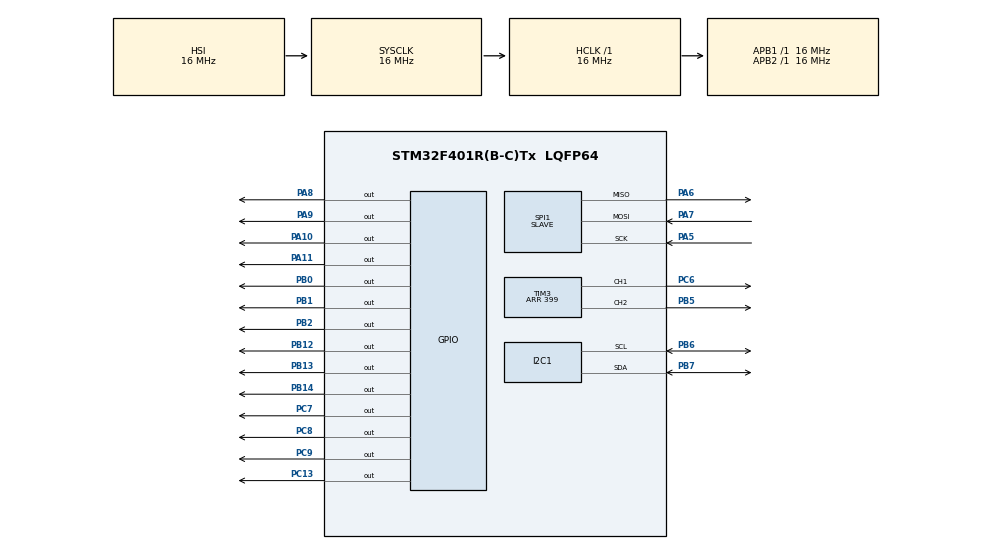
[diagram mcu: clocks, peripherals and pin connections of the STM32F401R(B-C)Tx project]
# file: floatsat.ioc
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Mcu.Family=STM32F4
Mcu.Name=STM32F401R(B-C)Tx
Mcu.Package=LQFP64
NVIC.I2C1_EV_IRQn=true\:1\:0\:true\:false\:true\:true\:true\:true
NVIC.PriorityGroup=NVIC_PRIORITYGROUP_4
NVIC.SPI1_IRQn=true\:0\:0\:true\:false\:true\:true\:true\:true
NVIC.TIM1_UP_TIM10_IRQn=true\:1\:0\:true\:false\:true\:true\:true\:true
NVIC.TIM2_IRQn=true\:1\:0\:true\:false\:true\:true\:true\:true
NVIC.TIM4_IRQn=true\:1\:0\:true\:false\:true\:true\:true\:true
NVIC.TIM5_IRQn=true\:1\:0\:true\:false\:true\:true\:true\:true
PA10.Signal=GPIO_Output
PA11.Signal=GPIO_Output
PA5.Mode=Full_Duplex_Slave
PA5.Signal=SPI1_SCK
PA6.Mode=Full_Duplex_Slave
PA6.Signal=SPI1_MISO
PA7.Mode=Full_Duplex_Slave
PA7.Signal=SPI1_MOSI
PA8.Signal=GPIO_Output
PA9.Signal=GPIO_Output
PB0.Signal=GPIO_Output
PB1.Signal=GPIO_Output
PB12.Signal=GPIO_Output
PB13.Signal=GPIO_Output
PB14.Signal=GPIO_Output
PB2.Signal=GPIO_Output
PB5.Signal=S_TIM3_CH2
PB6.Mode=I2C
PB6.Signal=I2C1_SCL
PB7.Mode=I2C
PB7.Signal=I2C1_SDA
PC13-ANTI_TAMP.Signal=GPIO_Output
PC6.Signal=S_TIM3_CH1
PC7.Signal=GPIO_Output
PC8.Signal=GPIO_Output
PC9.Signal=GPIO_Output
ProjectManager.HeapSize=0x200
ProjectManager.StackSize=0x400
ProjectManager.TargetToolchain=STM32CubeIDE
RCC.AHBFreq_Value=16000000
RCC.APB1Freq_Value=16000000
RCC.APB1TimFreq_Value=16000000
RCC.APB2Freq_Value=16000000
RCC.APB2TimFreq_Value=16000000
RCC.CortexFreq_Value=16000000
RCC.HCLKFreq_Value=16000000
RCC.HSE_VALUE=25000000
RCC.HSI_VALUE=16000000
RCC.LSE_VALUE=32768
RCC.SYSCLKFreq_VALUE=16000000
RCC.VCOOutputFreq_Value=192000000
SH.S_TIM3_CH1.0=TIM3_CH1,PWM Generation1 CH1
SH.S_TIM3_CH2.0=TIM3_CH2,PWM Generation2 CH2
SPI1.CLKPhase=SPI_PHASE_2EDGE
SPI1.CLKPolarity=SPI_POLARITY_LOW
SPI1.Direction=SPI_DIRECTION_2LINES
SPI1.Mode=SPI_MODE_SLAVE
SPI1.VirtualType=VM_SLAVE
TIM1.CounterMode=TIM_COUNTERMODE_DOWN
TIM1.Period=2000
TIM1.Prescaler=15
TIM2.CounterMode=TIM_COUNTERMODE_DOWN
TIM2.Prescaler=15
TIM3.Channel-PWM\ Generation1\ CH1=TIM_CHANNEL_1
TIM3.Channel-PWM\ Generation2\ CH2=TIM_CHANNEL_2
TIM3.CounterMode=TIM_COUNTERMODE_DOWN
TIM3.Period=399
TIM4.CounterMode=TIM_COUNTERMODE_DOWN
TIM5.CounterMode=TIM_COUNTERMODE_DOWN
TIM5.Prescaler=15
VP_TIM1_VS_ClockSourceINT.Mode=Internal
VP_TIM2_VS_ClockSourceINT.Mode=Internal
VP_TIM4_VS_ClockSourceINT.Mode=Internal
VP_TIM5_VS_ClockSourceINT.Mode=Internal
VP_TIM9_VS_ClockSourceINT.Mode=Internal
board=custom

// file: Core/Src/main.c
/* USER CODE BEGIN Header */
/**
 ******************************************************************************
 * @file           : main.c
 * @brief          : Main program body
 ******************************************************************************
 * @attention
 *
 * Copyright (c) 2025 STMicroelectronics.
 * All rights reserved.
 *
 * This software is licensed under terms that can be found in the LICENSE file
 * in the root directory of this software component.
 * If no LICENSE file comes with this software, it is provided AS-IS.
 *
 ******************************************************************************
 */
/* USER CODE END Header */
#include "main.h"

/* USER CODE BEGIN Includes */
#include <math.h>
#include "motor.h"
#include "imu.h"
#include "communication.h"
#include "attitude_control.h"
#include "attitude_estimator.h"

/* USER CODE END Includes */

I2C_HandleTypeDef hi2c1;

SPI_HandleTypeDef hspi1;

TIM_HandleTypeDef htim1;
TIM_HandleTypeDef htim2;
TIM_HandleTypeDef htim3;
TIM_HandleTypeDef htim4;
TIM_HandleTypeDef htim5;
TIM_HandleTypeDef htim9;

/* USER CODE BEGIN PV */
const float step = 0.005;      // how much to increase per loop

Motor_t motor1 = { &htim2, TIM2, &htim3, TIM3,
GPIOB, GPIO_PIN_12,
GPIOB, GPIO_PIN_13,
GPIOB, GPIO_PIN_14, 0, 0, step };

Motor_t motor2 = { &htim5, TIM5, &htim3, TIM3,
		GPIOA, GPIO_PIN_9,
		GPIOA, GPIO_PIN_10,
		GPIOA, GPIO_PIN_11,
		0, 0, step };

Motor_t motor3 = { &htim4, TIM4, &htim3, TIM3,
		GPIOB, GPIO_PIN_0,
		GPIOB, GPIO_PIN_1,
		GPIOB, GPIO_PIN_2,
		0, 0, step };

uint8_t acc_buff[IMU_BUFF_LEN];
uint8_t gyro_buff[IMU_BUFF_LEN];
uint8_t mag_buff[IMU_BUFF_LEN];

IMU_t imu = { .hi2c = &hi2c1, .acc_buff = acc_buff, .gyro_buff=gyro_buff, .mag_buff=mag_buff };

uint8_t spi_rx_buf[SPI_FRAME_LEN];
uint8_t spi_tx_buf[SPI_FRAME_LEN];
COM_t com = { .hspi = &hspi1, .spi_rx_buf = spi_rx_buf, .spi_tx_buf = spi_tx_buf };

measurement_t meas = {0};
control_params_t params = {0};
float omega_body_z_cmd = 0.0f;
quat_t q_setpoint = {
	.w = 1.0f,
	.x = 0.0f,
	.y = 0.0f,
	.z = 0.0f
};
vec3_t motor_speed = {0};

float rps1 = 1;         // start speed
float target_rps1 = 20;   // end speed
float rps2 = 1;         // start speed
float target_rps2 = 20;   // end speed
float rps3 = 1;         // start speed
float target_rps3 = 20;   // end speed

/* USER CODE END PV */

void SystemClock_Config(void);
static void MX_GPIO_Init(void);
static void MX_TIM3_Init(void);
static void MX_SPI1_Init(void);
static void MX_I2C1_Init(void);
static void MX_TIM2_Init(void);
static void MX_TIM1_Init(void);
static void MX_TIM5_Init(void);
static void MX_TIM9_Init(void);
static void MX_TIM4_Init(void);

/* USER CODE BEGIN 0 */
void HAL_TIM_PeriodElapsedCallback(TIM_HandleTypeDef *htim) {
	if (htim == &htim1) {
		Motor_ControlTick(&motor1);
		Motor_ControlTick(&motor2);
		Motor_ControlTick(&motor3);
	} else if (htim == &htim2) {
		motor_irq(&motor1);
	} else if (htim == &htim5) {
		motor_irq(&motor2);
	} else if (htim == &htim4) {
		motor_irq(&motor3);
	}
}

void HAL_SPI_TxRxCpltCallback(SPI_HandleTypeDef *hspi) {
	if (hspi->Instance == SPI1){
		comunicate(&com, &imu, &meas, &params, &omega_body_z_cmd, &motor_speed, &q_setpoint);
	}
}

void HAL_I2C_MemRxCpltCallback(I2C_HandleTypeDef *hi2c) {
	HAL_GPIO_TogglePin(GPIOC, GPIO_PIN_13);
	read_imu(&imu);
}

static float deg2rad(float deg)
{
    return deg * (float)M_PI / 180.0f;
}

/* USER CODE END 0 */

int main(void)
{
  /* USER CODE BEGIN 1 */
	setTarget(&motor1, 1);
	setTarget(&motor2, 1);
	setTarget(&motor3, 1);

	setStep(&motor1, step);
	setStep(&motor2, step);
	setStep(&motor3, step);

  /* USER CODE END 1 */

  /* MCU Configuration--------------------------------------------------------*/

  /* Reset of all peripherals, Initializes the Flash interface and the Systick. */
  HAL_Init();

  /* Configure the system clock */
  SystemClock_Config();

  /* USER CODE BEGIN SysInit */
  HAL_Delay(1000);
  /* USER CODE END SysInit */

  /* Initialize all configured peripherals */
  MX_GPIO_Init();
  MX_TIM3_Init();
  MX_SPI1_Init();
  MX_I2C1_Init();
  MX_TIM2_Init();
  MX_TIM1_Init();
  MX_TIM5_Init();
  MX_TIM9_Init();
  MX_TIM4_Init();
  /* USER CODE BEGIN 2 */

  	HAL_GPIO_WritePin(GPIOC, GPIO_PIN_13, GPIO_PIN_SET);
  	init_imu(&imu);
  	while (calib_imu(&imu) != HAL_OK); // TODO test bias compensation
  	HAL_GPIO_WritePin(GPIOC, GPIO_PIN_13, GPIO_PIN_RESET);

	Commutation_Start(&motor1, rps1 * 7.0f * 6.0f);
	Commutation_Start(&motor2, rps2 * 7.0f * 6.0f);
	Commutation_Start(&motor3, rps3 * 7.0f * 6.0f);

	uint8_t duty = 98;
	SetDuty_TIM3_CH2(&motor1, duty);

	HAL_TIM_Base_Start_IT(&htim1);

	for (int i = 0; i < SPI_FRAME_LEN; i++) {
		spi_rx_buf[i] = 0;
	}
	for (int i = 0; i < SPI_FRAME_LEN; i++) {
		spi_tx_buf[i] = i;
	}
	HAL_SPI_TransmitReceive_IT(&hspi1, spi_tx_buf, spi_rx_buf, SPI_FRAME_LEN);

	 /* =========================
	 * Control parameters
	 * ========================= */

	/* Timing */
	params.dt = 0.002f;  /* 500 Hz */

	/* Outer (angle) PID */
	params.angle_kp[0] = 0.0f;
	params.angle_kp[1] = 0.0f;
	params.angle_kp[2] = 0.0f;

	params.angle_ki[0] = 0.0f;
	params.angle_ki[1] = 0.0f;
	params.angle_ki[2] = 0.0f;

	params.max_angvel_cmd[0] = deg2rad(10.0f);
	params.max_angvel_cmd[1] = deg2rad(10.0f);
	params.max_angvel_cmd[2] = deg2rad(10.0f);

	/* Inner (rate) PID */
	params.rate_kp[0] = 0.0f;
	params.rate_kp[1] = 0.0f;
	params.rate_kp[2] = 0.0f;

	params.rate_ki[0] = 0.0f;
	params.rate_ki[1] = 0.0f;
	params.rate_ki[2] = 1.0f;

	params.rate_kd[0] = 0.0f;
	params.rate_kd[1] = 0.0f;
	params.rate_kd[2] = 0.0f;

	/* Actuator limits */
	params.max_motor_rpm    = 1200.0f;
	params.max_motor_torque = 10.0f;

	/* =========================
	 * Wheel axis matrix (identity)
	 * ========================= */
	/*
	 * Wheel 0 → X
	 * Wheel 1 → Y
	 * Wheel 2 → Z
	 */
	params.wheel_axis[0][0] = 0.8165f;
	params.wheel_axis[0][1] = -0.4083f;
	params.wheel_axis[0][2] = 0.4083f;

	params.wheel_axis[1][0] = 0.0f;
	params.wheel_axis[1][1] = 0.7071f;
	params.wheel_axis[1][2] = -0.07071f;

	params.wheel_axis[2][0] = 0.5773f;
	params.wheel_axis[2][1] = 0.5773f;
	params.wheel_axis[2][2] = 0.5773f;

	params.torque_to_rpm = params.max_motor_rpm / params.max_motor_torque;

	meas_state_t meas_state;
	measurement_init(&meas_state, imu.acc, imu.mag);

  /* USER CODE END 2 */

  /* Infinite loop */
  /* USER CODE BEGIN WHILE */
	while (1) {
		if (read_imu(&imu) != HAL_OK){
			MX_I2C1_Init();
		} else {
			parse_imu(&imu);
		}
		HAL_Delay(2); // update dt as well.

		meas = measurement_update(&meas_state, &imu, params.dt);

		control_step(&imu, &meas, &params, &omega_body_z_cmd, &motor_speed, &q_setpoint);

		setTarget(&motor1, motor_speed.v[0]);
		setTarget(&motor2, motor_speed.v[1]);
		setTarget(&motor3, motor_speed.v[2]);

	}
    /* USER CODE END WHILE */

}

void SystemClock_Config(void)
{
  RCC_OscInitTypeDef RCC_OscInitStruct = {0};
  RCC_ClkInitTypeDef RCC_ClkInitStruct = {0};

  /** Configure the main internal regulator output voltage
  */
  __HAL_RCC_PWR_CLK_ENABLE();
  __HAL_PWR_VOLTAGESCALING_CONFIG(PWR_REGULATOR_VOLTAGE_SCALE2);

  /** Initializes the RCC Oscillators according to the specified parameters
  * in the RCC_OscInitTypeDef structure.
  */
  RCC_OscInitStruct.OscillatorType = RCC_OSCILLATORTYPE_HSI;
  RCC_OscInitStruct.HSIState = RCC_HSI_ON;
  RCC_OscInitStruct.HSICalibrationValue = RCC_HSICALIBRATION_DEFAULT;
  RCC_OscInitStruct.PLL.PLLState = RCC_PLL_NONE;
  if (HAL_RCC_OscConfig(&RCC_OscInitStruct) != HAL_OK)
  {
    Error_Handler();
  }

  /** Initializes the CPU, AHB and APB buses clocks
  */
  RCC_ClkInitStruct.ClockType = RCC_CLOCKTYPE_HCLK|RCC_CLOCKTYPE_SYSCLK
                              |RCC_CLOCKTYPE_PCLK1|RCC_CLOCKTYPE_PCLK2;
  RCC_ClkInitStruct.SYSCLKSource = RCC_SYSCLKSOURCE_HSI;
  RCC_ClkInitStruct.AHBCLKDivider = RCC_SYSCLK_DIV1;
  RCC_ClkInitStruct.APB1CLKDivider = RCC_HCLK_DIV1;
  RCC_ClkInitStruct.APB2CLKDivider = RCC_HCLK_DIV1;

  if (HAL_RCC_ClockConfig(&RCC_ClkInitStruct, FLASH_LATENCY_0) != HAL_OK)
  {
    Error_Handler();
  }
}

static void MX_I2C1_Init(void)
{

  hi2c1.Instance = I2C1;
  hi2c1.Init.ClockSpeed = 100000;
  hi2c1.Init.DutyCycle = I2C_DUTYCYCLE_2;
  hi2c1.Init.OwnAddress1 = 0;
  hi2c1.Init.AddressingMode = I2C_ADDRESSINGMODE_7BIT;
  hi2c1.Init.DualAddressMode = I2C_DUALADDRESS_DISABLE;
  hi2c1.Init.OwnAddress2 = 0;
  hi2c1.Init.GeneralCallMode = I2C_GENERALCALL_DISABLE;
  hi2c1.Init.NoStretchMode = I2C_NOSTRETCH_DISABLE;
  if (HAL_I2C_Init(&hi2c1) != HAL_OK)
  {
    Error_Handler();
  }
  /* USER CODE BEGIN I2C1_Init 2 */
	/*__HAL_RCC_GPIOB_CLK_ENABLE();

	 GPIO_InitTypeDef GPIO_InitStruct = { 0 };
	 GPIO_InitStruct.Pin = GPIO_PIN_8 | GPIO_PIN_9;  // example SCL/SDA
	 GPIO_InitStruct.Mode = GPIO_MODE_AF_OD;
	 GPIO_InitStruct.Pull = GPIO_PULLUP;
	 GPIO_InitStruct.Speed = GPIO_SPEED_FREQ_VERY_HIGH;
	 GPIO_InitStruct.Alternate = GPIO_AF4_I2C1;
	 HAL_GPIO_Init(GPIOB, &GPIO_InitStruct);

	 __HAL_RCC_I2C1_CLK_ENABLE();*/
  /* USER CODE END I2C1_Init 2 */

}

static void MX_SPI1_Init(void)
{

  /* SPI1 parameter configuration*/
  hspi1.Instance = SPI1;
  hspi1.Init.Mode = SPI_MODE_SLAVE;
  hspi1.Init.Direction = SPI_DIRECTION_2LINES;
  hspi1.Init.DataSize = SPI_DATASIZE_8BIT;
  hspi1.Init.CLKPolarity = SPI_POLARITY_LOW;
  hspi1.Init.CLKPhase = SPI_PHASE_2EDGE;
  hspi1.Init.NSS = SPI_NSS_SOFT;
  hspi1.Init.FirstBit = SPI_FIRSTBIT_MSB;
  hspi1.Init.TIMode = SPI_TIMODE_DISABLE;
  hspi1.Init.CRCCalculation = SPI_CRCCALCULATION_DISABLE;
  hspi1.Init.CRCPolynomial = 10;
  if (HAL_SPI_Init(&hspi1) != HAL_OK)
  {
    Error_Handler();
  }
  /* USER CODE BEGIN SPI1_Init 2 */
	HAL_NVIC_SetPriority(SPI1_IRQn, 0, 0);
	HAL_NVIC_EnableIRQ(SPI1_IRQn);
  /* USER CODE END SPI1_Init 2 */

}

static void MX_TIM1_Init(void)
{

  TIM_ClockConfigTypeDef sClockSourceConfig = {0};
  TIM_MasterConfigTypeDef sMasterConfig = {0};

  htim1.Instance = TIM1;
  htim1.Init.Prescaler = 15;
  htim1.Init.CounterMode = TIM_COUNTERMODE_DOWN;
  htim1.Init.Period = 2000;
  htim1.Init.ClockDivision = TIM_CLOCKDIVISION_DIV1;
  htim1.Init.RepetitionCounter = 0;
  htim1.Init.AutoReloadPreload = TIM_AUTORELOAD_PRELOAD_DISABLE;
  if (HAL_TIM_Base_Init(&htim1) != HAL_OK)
  {
    Error_Handler();
  }
  sClockSourceConfig.ClockSource = TIM_CLOCKSOURCE_INTERNAL;
  if (HAL_TIM_ConfigClockSource(&htim1, &sClockSourceConfig) != HAL_OK)
  {
    Error_Handler();
  }
  sMasterConfig.MasterOutputTrigger = TIM_TRGO_RESET;
  sMasterConfig.MasterSlaveMode = TIM_MASTERSLAVEMODE_DISABLE;
  if (HAL_TIMEx_MasterConfigSynchronization(&htim1, &sMasterConfig) != HAL_OK)
  {
    Error_Handler();
  }

}

static void MX_TIM2_Init(void)
{

  TIM_ClockConfigTypeDef sClockSourceConfig = {0};
  TIM_MasterConfigTypeDef sMasterConfig = {0};

  htim2.Instance = TIM2;
  htim2.Init.Prescaler = 15;
  htim2.Init.CounterMode = TIM_COUNTERMODE_DOWN;
  htim2.Init.Period = 4294967295;
  htim2.Init.ClockDivision = TIM_CLOCKDIVISION_DIV1;
  htim2.Init.AutoReloadPreload = TIM_AUTORELOAD_PRELOAD_DISABLE;
  if (HAL_TIM_Base_Init(&htim2) != HAL_OK)
  {
    Error_Handler();
  }
  sClockSourceConfig.ClockSource = TIM_CLOCKSOURCE_INTERNAL;
  if (HAL_TIM_ConfigClockSource(&htim2, &sClockSourceConfig) != HAL_OK)
  {
    Error_Handler();
  }
  sMasterConfig.MasterOutputTrigger = TIM_TRGO_RESET;
  sMasterConfig.MasterSlaveMode = TIM_MASTERSLAVEMODE_DISABLE;
  if (HAL_TIMEx_MasterConfigSynchronization(&htim2, &sMasterConfig) != HAL_OK)
  {
    Error_Handler();
  }

}

static void MX_TIM3_Init(void)
{

  TIM_MasterConfigTypeDef sMasterConfig = {0};
  TIM_OC_InitTypeDef sConfigOC = {0};

  htim3.Instance = TIM3;
  htim3.Init.Prescaler = 0;
  htim3.Init.CounterMode = TIM_COUNTERMODE_DOWN;
  htim3.Init.Period = 399;
  htim3.Init.ClockDivision = TIM_CLOCKDIVISION_DIV1;
  htim3.Init.AutoReloadPreload = TIM_AUTORELOAD_PRELOAD_DISABLE;
  if (HAL_TIM_PWM_Init(&htim3) != HAL_OK)
  {
    Error_Handler();
  }
  sMasterConfig.MasterOutputTrigger = TIM_TRGO_RESET;
  sMasterConfig.MasterSlaveMode = TIM_MASTERSLAVEMODE_DISABLE;
  if (HAL_TIMEx_MasterConfigSynchronization(&htim3, &sMasterConfig) != HAL_OK)
  {
    Error_Handler();
  }
  sConfigOC.OCMode = TIM_OCMODE_PWM1;
  sConfigOC.Pulse = 0;
  sConfigOC.OCPolarity = TIM_OCPOLARITY_HIGH;
  sConfigOC.OCFastMode = TIM_OCFAST_DISABLE;
  if (HAL_TIM_PWM_ConfigChannel(&htim3, &sConfigOC, TIM_CHANNEL_1) != HAL_OK)
  {
    Error_Handler();
  }
  if (HAL_TIM_PWM_ConfigChannel(&htim3, &sConfigOC, TIM_CHANNEL_2) != HAL_OK)
  {
    Error_Handler();
  }
  HAL_TIM_MspPostInit(&htim3);

}

static void MX_TIM4_Init(void)
{

  TIM_ClockConfigTypeDef sClockSourceConfig = {0};
  TIM_MasterConfigTypeDef sMasterConfig = {0};

  htim4.Instance = TIM4;
  htim4.Init.Prescaler = 0;
  htim4.Init.CounterMode = TIM_COUNTERMODE_DOWN;
  htim4.Init.Period = 65535;
  htim4.Init.ClockDivision = TIM_CLOCKDIVISION_DIV1;
  htim4.Init.AutoReloadPreload = TIM_AUTORELOAD_PRELOAD_DISABLE;
  if (HAL_TIM_Base_Init(&htim4) != HAL_OK)
  {
    Error_Handler();
  }
  sClockSourceConfig.ClockSource = TIM_CLOCKSOURCE_INTERNAL;
  if (HAL_TIM_ConfigClockSource(&htim4, &sClockSourceConfig) != HAL_OK)
  {
    Error_Handler();
  }
  sMasterConfig.MasterOutputTrigger = TIM_TRGO_RESET;
  sMasterConfig.MasterSlaveMode = TIM_MASTERSLAVEMODE_DISABLE;
  if (HAL_TIMEx_MasterConfigSynchronization(&htim4, &sMasterConfig) != HAL_OK)
  {
    Error_Handler();
  }

}

static void MX_TIM5_Init(void)
{

  TIM_ClockConfigTypeDef sClockSourceConfig = {0};
  TIM_MasterConfigTypeDef sMasterConfig = {0};

  htim5.Instance = TIM5;
  htim5.Init.Prescaler = 15;
  htim5.Init.CounterMode = TIM_COUNTERMODE_DOWN;
  htim5.Init.Period = 4294967295;
  htim5.Init.ClockDivision = TIM_CLOCKDIVISION_DIV1;
  htim5.Init.AutoReloadPreload = TIM_AUTORELOAD_PRELOAD_DISABLE;
  if (HAL_TIM_Base_Init(&htim5) != HAL_OK)
  {
    Error_Handler();
  }
  sClockSourceConfig.ClockSource = TIM_CLOCKSOURCE_INTERNAL;
  if (HAL_TIM_ConfigClockSource(&htim5, &sClockSourceConfig) != HAL_OK)
  {
    Error_Handler();
  }
  sMasterConfig.MasterOutputTrigger = TIM_TRGO_RESET;
  sMasterConfig.MasterSlaveMode = TIM_MASTERSLAVEMODE_DISABLE;
  if (HAL_TIMEx_MasterConfigSynchronization(&htim5, &sMasterConfig) != HAL_OK)
  {
    Error_Handler();
  }

}

static void MX_TIM9_Init(void)
{

  TIM_ClockConfigTypeDef sClockSourceConfig = {0};

  htim9.Instance = TIM9;
  htim9.Init.Prescaler = 0;
  htim9.Init.CounterMode = TIM_COUNTERMODE_UP;
  htim9.Init.Period = 65535;
  htim9.Init.ClockDivision = TIM_CLOCKDIVISION_DIV1;
  htim9.Init.AutoReloadPreload = TIM_AUTORELOAD_PRELOAD_DISABLE;
  if (HAL_TIM_Base_Init(&htim9) != HAL_OK)
  {
    Error_Handler();
  }
  sClockSourceConfig.ClockSource = TIM_CLOCKSOURCE_INTERNAL;
  if (HAL_TIM_ConfigClockSource(&htim9, &sClockSourceConfig) != HAL_OK)
  {
    Error_Handler();
  }

}

static void MX_GPIO_Init(void)
{
  GPIO_InitTypeDef GPIO_InitStruct = {0};

  /* GPIO Ports Clock Enable */
  __HAL_RCC_GPIOC_CLK_ENABLE();
  __HAL_RCC_GPIOA_CLK_ENABLE();
  __HAL_RCC_GPIOB_CLK_ENABLE();

  /*Configure GPIO pin Output Level */
  HAL_GPIO_WritePin(GPIOC, GPIO_PIN_13|GPIO_PIN_7|GPIO_PIN_8|GPIO_PIN_9, GPIO_PIN_RESET);

  /*Configure GPIO pin Output Level */
  HAL_GPIO_WritePin(GPIOB, GPIO_PIN_0|GPIO_PIN_1|GPIO_PIN_2|GPIO_PIN_12
                          |GPIO_PIN_13|GPIO_PIN_14, GPIO_PIN_RESET);

  /*Configure GPIO pin Output Level */
  HAL_GPIO_WritePin(GPIOA, GPIO_PIN_8|GPIO_PIN_9|GPIO_PIN_10|GPIO_PIN_11, GPIO_PIN_RESET);

  /*Configure GPIO pins : PC13 PC7 PC8 PC9 */
  GPIO_InitStruct.Pin = GPIO_PIN_13|GPIO_PIN_7|GPIO_PIN_8|GPIO_PIN_9;
  GPIO_InitStruct.Mode = GPIO_MODE_OUTPUT_PP;
  GPIO_InitStruct.Pull = GPIO_NOPULL;
  GPIO_InitStruct.Speed = GPIO_SPEED_FREQ_LOW;
  HAL_GPIO_Init(GPIOC, &GPIO_InitStruct);

  /*Configure GPIO pins : PB0 PB1 PB2 PB12
                           PB13 PB14 */
  GPIO_InitStruct.Pin = GPIO_PIN_0|GPIO_PIN_1|GPIO_PIN_2|GPIO_PIN_12
                          |GPIO_PIN_13|GPIO_PIN_14;
  GPIO_InitStruct.Mode = GPIO_MODE_OUTPUT_PP;
  GPIO_InitStruct.Pull = GPIO_NOPULL;
  GPIO_InitStruct.Speed = GPIO_SPEED_FREQ_LOW;
  HAL_GPIO_Init(GPIOB, &GPIO_InitStruct);

  /*Configure GPIO pins : PA8 PA9 PA10 PA11 */
  GPIO_InitStruct.Pin = GPIO_PIN_8|GPIO_PIN_9|GPIO_PIN_10|GPIO_PIN_11;
  GPIO_InitStruct.Mode = GPIO_MODE_OUTPUT_PP;
  GPIO_InitStruct.Pull = GPIO_NOPULL;
  GPIO_InitStruct.Speed = GPIO_SPEED_FREQ_LOW;
  HAL_GPIO_Init(GPIOA, &GPIO_InitStruct);

  /* USER CODE BEGIN MX_GPIO_Init_2 */
	// Configure PA5 (SCK), PA6 (MISO), PA7 (MOSI) for SPI1 (AF5)
	GPIO_InitStruct.Pin = GPIO_PIN_5 | GPIO_PIN_6 | GPIO_PIN_7;
	GPIO_InitStruct.Mode = GPIO_MODE_AF_PP;
	GPIO_InitStruct.Pull = GPIO_NOPULL;            // or GPIO_PULLDOWN if needed
	GPIO_InitStruct.Speed = GPIO_SPEED_FREQ_VERY_HIGH;
	GPIO_InitStruct.Alternate = GPIO_AF5_SPI1;
	HAL_GPIO_Init(GPIOA, &GPIO_InitStruct);
  /* USER CODE END MX_GPIO_Init_2 */
}

void Error_Handler(void)
{
	__disable_irq();
	while (1) {
	}
}
